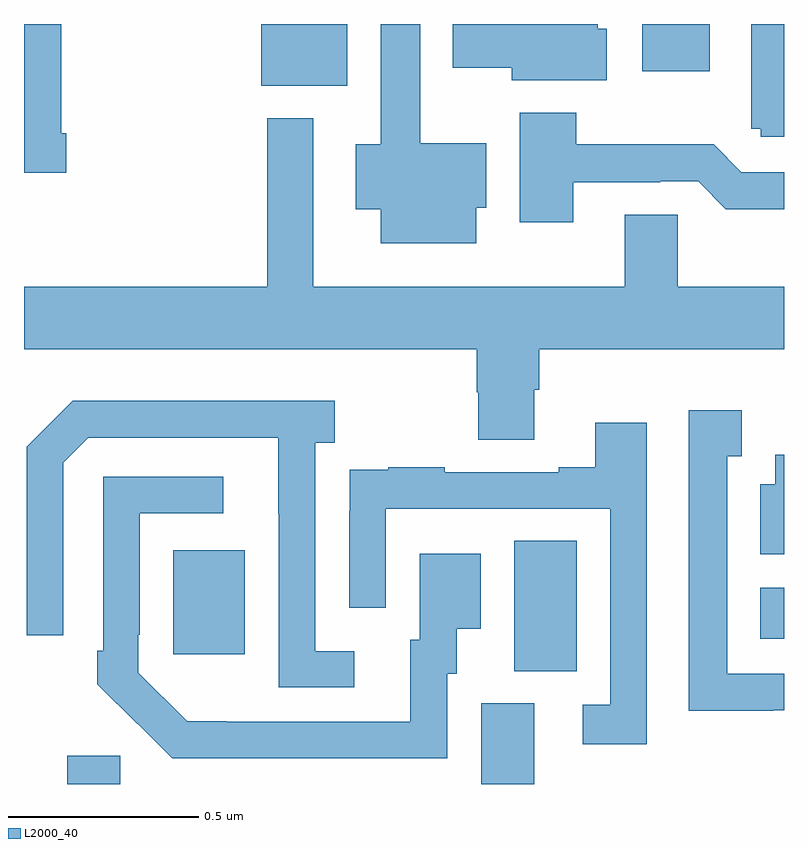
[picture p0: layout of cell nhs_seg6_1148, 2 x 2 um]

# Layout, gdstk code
import gdstk
lib = gdstk.Library(unit=1e-6, precision=1e-09)
def R(c, l, rs):  # rectangles x0, y0, x1, y1
    for r in rs: c.add(gdstk.rectangle(r[:2], r[2:], *l))
def P(c, l, *ps):  # polygons
    for p in ps: c.add(gdstk.Polygon(p, *l))
L2000_40 = (2000, 40)

nhs_seg6_1148 = lib.new_cell('nhs_seg6_1148')
R(nhs_seg6_1148, L2000_40, [(125.114,971.5,125.253,971.574), (126.203,971.5,126.343,971.712), (126.29,971.797,126.454,972.14), (125.393,971.841,125.581,972.115), (126.938,971.882,127,972.016), (125.624,973.337,125.851,973.5), (126.627,973.376,126.805,973.5)])
P(nhs_seg6_1148, L2000_40, [(126.534,973.488),(126.51,973.488),(126.51,973.5),(126.128,973.5),(126.128,973.385),(126.284,973.385),(126.284,973.352),(126.534,973.352)],
  [(126.19,973.017),(126.217,973.017),(126.217,973.186),(126.043,973.186),(126.043,973.5),(125.939,973.5),(125.939,973.184),(125.873,973.184),(125.873,973.013),(125.939,973.013),(125.939,972.923),(126.19,972.923)],
  [(127,973.5),(126.914,973.5),(126.914,973.224),(126.939,973.224),(126.939,973.203),(127,973.203)],
  [(125.111,973.213),(125.098,973.213),(125.098,973.5),(125,973.5),(125,973.109),(125.111,973.109)],
  [(126.445,973.083),(126.674,973.083),(126.674,973.086),(126.774,973.086),(126.847,973.013),(127,973.013),(127,973.11),(126.888,973.11),(126.815,973.183),(126.453,973.183),(126.453,973.267),(126.305,973.267),(126.305,972.978),(126.445,972.978)],
  [(126.343,972.538),(126.356,972.538),(126.356,972.644),(127,972.644),(127,972.808),(126.72,972.808),(126.72,972.998),(126.581,972.998),(126.581,972.808),(125.761,972.808),(125.761,973.252),(125.64,973.252),(125.64,972.808),(125,972.808),(125,972.644),(126.191,972.644),(126.191,972.531),(126.196,972.531),(126.196,972.406),(126.343,972.406)],
  [(125.869,971.85),(125.766,971.85),(125.766,972.398),(125.818,972.398),(125.818,972.508),(125.128,972.508),(125.007,972.387),(125.007,971.892),(125.103,971.892),(125.103,972.345),(125.169,972.411),(125.669,972.411),(125.669,972.211),(125.67,972.211),(125.67,971.754),(125.869,971.754)],
  [(126.972,971.694),(127,971.694),(127,971.79),(126.85,971.79),(126.85,972.363),(126.889,972.363),(126.889,972.484),(126.749,972.484),(126.749,971.693),(126.972,971.693)],
  [(126.639,972.451),(126.503,972.451),(126.503,972.334),(126.407,972.334),(126.407,972.321),(126.107,972.321),(126.107,972.334),(125.959,972.334),(125.959,972.327),(125.857,972.327),(125.857,972.218),(125.856,972.218),(125.856,971.964),(125.952,971.964),(125.952,972.225),(126.543,972.225),(126.543,971.709),(126.471,971.709),(126.471,971.604),(126.639,971.604)],
  [(127,972.367),(126.977,972.367),(126.977,972.289),(126.938,972.289),(126.938,972.104),(127,972.104)],
  [(126.114,971.79),(126.139,971.79),(126.139,971.909),(126.202,971.909),(126.202,972.106),(126.041,972.106),(126.041,971.88),(126.017,971.88),(126.017,971.664),(125.533,971.664),(125.533,971.665),(125.43,971.665),(125.301,971.793),(125.301,971.893),(125.304,971.893),(125.304,972.213),(125.524,972.213),(125.524,972.309),(125.208,972.309),(125.208,971.851),(125.193,971.851),(125.193,971.763),(125.298,971.658),(125.299,971.659),(125.39,971.568),(126.114,971.568)])

lib.write_gds('nhs_seg6_1148.gds')
